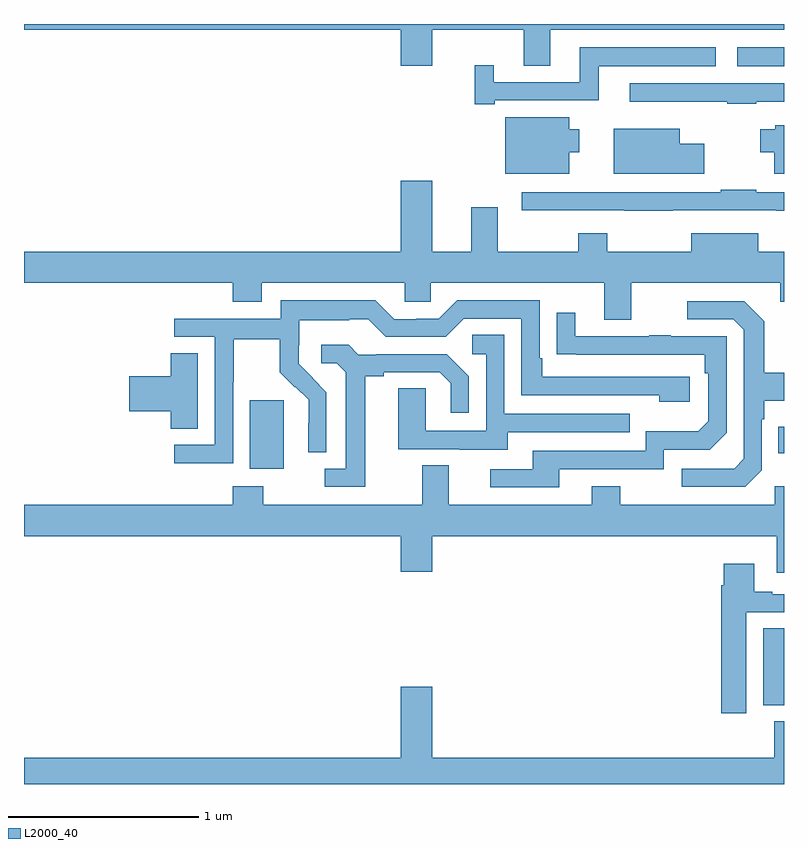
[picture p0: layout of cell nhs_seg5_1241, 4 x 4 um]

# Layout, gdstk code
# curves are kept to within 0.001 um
import gdstk
lib = gdstk.Library(unit=1e-6, precision=1e-09)
def R(c, l, rs):  # rectangles x0, y0, x1, y1
    for r in rs: c.add(gdstk.rectangle(r[:2], r[2:], *l))
def P(c, l, *ps):  # polygons
    for p in ps: c.add(gdstk.Polygon(p, *l))
L2000_40 = (2000, 40)

nhs_seg5_1241 = lib.new_cell('nhs_seg5_1241')
R(nhs_seg5_1241, L2000_40, [(190.892,845.213,191,845.618), (188.189,846.458,188.368,846.819), (190.969,846.539,191,846.679), (190.755,848.576,191,848.677)])
P(nhs_seg5_1241, L2000_40, [(189.769,848.768),(191,848.768),(191,848.799),(187,848.799),(187,848.768),(188.984,848.768),(188.984,848.58),(189.148,848.58),(189.148,848.768),(189.629,848.768),(189.629,848.578),(189.769,848.578)],
  [(189.478,848.397),(190.024,848.397),(190.024,848.576),(190.642,848.576),(190.642,848.677),(189.926,848.677),(189.926,848.493),(189.472,848.493),(189.472,848.581),(189.373,848.581),(189.373,848.377),(189.478,848.377)],
  [(190.853,848.391),(191,848.391),(191,848.487),(190.188,848.487),(190.188,848.39),(190.546,848.39),(190.546,848.389),(190.7,848.389),(190.7,848.379),(190.853,848.379)],
  [(189.871,848.123),(189.922,848.123),(189.922,848.245),(189.871,848.245),(189.871,848.308),(189.533,848.308),(189.533,848.012),(189.871,848.012)],
  [(191,848.266),(190.953,848.266),(190.953,848.245),(190.874,848.245),(190.874,848.123),(190.949,848.123),(190.949,848.012),(191,848.012)],
  [(190.579,848.17),(190.45,848.17),(190.45,848.248),(190.103,848.248),(190.103,848.012),(190.579,848.012)],
  [(187,847.436),(188.099,847.436),(188.099,847.337),(188.251,847.337),(188.251,847.436),(189.003,847.436),(189.003,847.338),(189.141,847.338),(189.141,847.436),(190.055,847.436),(190.055,847.242),(190.195,847.242),(190.195,847.436),(190.979,847.436),(190.979,847.337),(191,847.337),(191,847.6),(190.864,847.6),(190.864,847.699),(190.511,847.699),(190.511,847.6),(190.071,847.6),(190.071,847.699),(189.916,847.699),(189.916,847.6),(189.493,847.6),(189.493,847.834),(189.353,847.834),(189.353,847.6),(189.148,847.6),(189.148,847.975),(188.984,847.975),(188.984,847.6),(187,847.6)],
  [(190.415,847.818),(190.96,847.818),(190.96,847.817),(191,847.817),(191,847.914),(190.853,847.914),(190.853,847.927),(190.666,847.927),(190.666,847.914),(189.621,847.914),(189.621,847.818),(190.159,847.818),(190.159,847.817),(190.415,847.817)],
  [(188.1,846.916),(188.103,846.916),(188.103,847.14),(188.347,847.14),(188.347,846.965),(188.424,846.888),(188.427,846.891),(188.498,846.821),(188.498,846.698),(188.496,846.698),(188.496,846.544),(188.592,846.544),(188.592,846.862),(188.446,847.01),(188.446,847.107),(188.448,847.107),(188.448,847.241),(188.711,847.241),(188.711,847.245),(188.811,847.245),(188.904,847.152),(189.219,847.152),(189.315,847.248),(189.618,847.248),(189.618,846.846),(190.343,846.846),(190.343,846.812),(190.504,846.812),(190.504,846.942),(189.727,846.942),(189.727,847.039),(189.714,847.039),(189.714,847.344),(189.279,847.344),(189.183,847.248),(189.065,847.248),(189.065,847.245),(188.949,847.245),(188.849,847.345),(188.352,847.345),(188.352,847.248),(187.791,847.248),(187.791,847.152),(188.004,847.152),(188.004,846.585),(187.791,846.585),(187.791,846.487),(188.1,846.487)],
  [(190.884,846.45),(190.884,846.719),(190.897,846.719),(190.897,846.815),(191,846.815),(191,846.963),(190.897,846.963),(190.897,847.235),(190.791,847.341),(190.491,847.341),(190.491,847.245),(190.734,847.245),(190.788,847.191),(190.788,846.51),(190.737,846.459),(190.461,846.459),(190.461,846.363),(190.797,846.363)],
  [(189.817,846.456),(190.368,846.456),(190.368,846.558),(190.608,846.558),(190.698,846.648),(190.698,847.155),(190.403,847.155),(190.403,847.16),(190.291,847.16),(190.291,847.155),(189.901,847.155),(189.901,847.279),(189.805,847.279),(189.805,847.06),(190.582,847.059),(190.582,846.962),(190.602,846.962),(190.602,846.708),(190.549,846.655),(190.272,846.655),(190.272,846.552),(189.677,846.552),(189.677,846.456),(189.453,846.456),(189.453,846.36),(189.817,846.36)],
  [(189.547,846.651),(190.187,846.651),(190.187,846.747),(189.528,846.747),(189.528,847.163),(189.36,847.163),(189.36,847.062),(189.432,847.062),(189.432,846.657),(189.114,846.657),(189.114,846.881),(188.969,846.881),(188.969,846.561),(189.293,846.561),(189.293,846.557),(189.547,846.557)],
  [(188.797,846.944),(188.893,846.944),(188.893,846.966),(189.188,846.966),(189.245,846.909),(189.245,846.753),(189.342,846.753),(189.342,846.946),(189.226,847.062),(188.854,847.062),(188.854,847.059),(188.76,847.059),(188.708,847.111),(188.565,847.111),(188.565,847.014),(188.646,847.014),(188.693,846.967),(188.693,846.459),(188.583,846.459),(188.583,846.363),(188.797,846.363)],
  [(187.915,847.067),(187.772,847.067),(187.772,846.944),(187.554,846.944),(187.554,846.761),(187.772,846.761),(187.772,846.67),(187.915,846.67)],
  [(191,846.367),(190.95,846.367),(190.95,846.268),(190.137,846.268),(190.137,846.367),(189.989,846.367),(189.989,846.268),(189.235,846.268),(189.235,846.476),(189.095,846.476),(189.095,846.268),(188.259,846.268),(188.259,846.367),(188.099,846.367),(188.099,846.268),(187,846.268),(187,846.104),(188.984,846.104),(188.984,845.916),(189.148,845.916),(189.148,846.104),(190.961,846.104),(190.961,845.91),(191,845.91)],
  [(190.801,845.703),(191,845.703),(191,845.799),(190.939,845.799),(190.939,845.812),(190.843,845.812),(190.843,845.959),(190.682,845.959),(190.682,845.846),(190.67,845.846),(190.67,845.172),(190.801,845.172)],
  [(191,845.128),(190.949,845.128),(190.949,844.936),(189.148,844.936),(189.148,845.311),(188.984,845.311),(188.984,844.936),(187,844.936),(187,844.799),(191,844.799)])

lib.write_gds('nhs_seg5_1241.gds')
